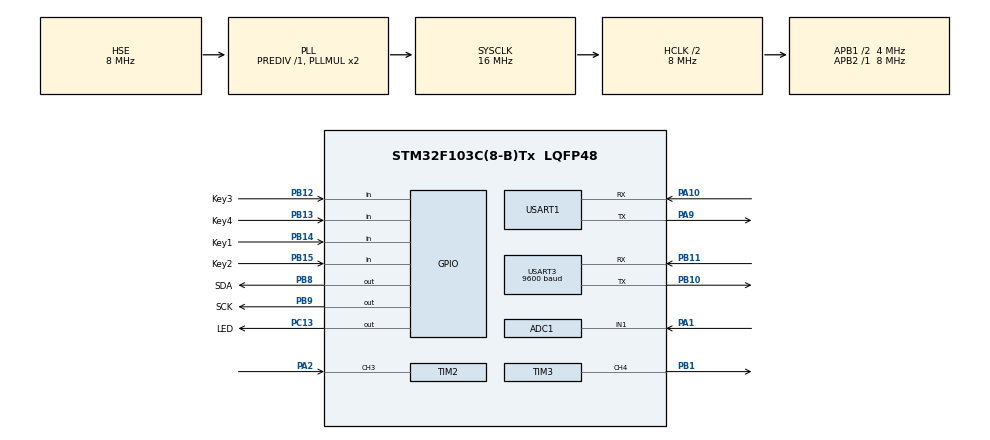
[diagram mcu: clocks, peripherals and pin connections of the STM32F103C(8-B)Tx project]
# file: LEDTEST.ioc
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ADC1.Channel-0\#ChannelRegularConversion=ADC_CHANNEL_1
ADC1.ExternalTrigConv=ADC_EXTERNALTRIGCONV_T3_TRGO
ADC1.NbrOfConversionFlag=1
ADC1.Rank-0\#ChannelRegularConversion=1
ADC1.SamplingTime-0\#ChannelRegularConversion=ADC_SAMPLETIME_1CYCLE_5
ADC1.master=1
Dma.ADC1.0.Direction=DMA_PERIPH_TO_MEMORY
Dma.ADC1.0.Instance=DMA1_Channel1
Dma.ADC1.0.MemDataAlignment=DMA_MDATAALIGN_HALFWORD
Dma.ADC1.0.MemInc=DMA_MINC_ENABLE
Dma.ADC1.0.Mode=DMA_CIRCULAR
Dma.ADC1.0.PeriphDataAlignment=DMA_PDATAALIGN_HALFWORD
Dma.ADC1.0.PeriphInc=DMA_PINC_DISABLE
Dma.ADC1.0.Priority=DMA_PRIORITY_LOW
Dma.Request0=ADC1
Mcu.Family=STM32F1
Mcu.Name=STM32F103C(8-B)Tx
Mcu.Package=LQFP48
NVIC.DMA1_Channel1_IRQn=true\:0\:0\:false\:false\:true\:false\:true
NVIC.PriorityGroup=NVIC_PRIORITYGROUP_4
NVIC.TIM2_IRQn=true\:0\:0\:true\:false\:true\:true\:true
NVIC.TIM3_IRQn=true\:0\:0\:false\:false\:true\:true\:true
PA1.Signal=ADCx_IN1
PA10.Mode=Asynchronous
PA10.Signal=USART1_RX
PA13.Mode=Serial_Wire
PA13.Signal=SYS_JTMS-SWDIO
PA14.Mode=Serial_Wire
PA14.Signal=SYS_JTCK-SWCLK
PA2.GPIO_PuPd=GPIO_PULLDOWN
PA2.Signal=S_TIM2_CH3
PA9.Mode=Asynchronous
PA9.Signal=USART1_TX
PB1.Signal=S_TIM3_CH4
PB10.Mode=Asynchronous
PB10.Signal=USART3_TX
PB11.Mode=Asynchronous
PB11.Signal=USART3_RX
PB12.GPIO_Label=Key3
PB12.Signal=GPIO_Input
PB13.GPIO_Label=Key4
PB13.Signal=GPIO_Input
PB14.GPIO_Label=Key1
PB14.Signal=GPIO_Input
PB15.GPIO_Label=Key2
PB15.Signal=GPIO_Input
PB8.GPIO_Label=SDA
PB8.GPIO_Speed=GPIO_SPEED_FREQ_HIGH
PB8.PinState=GPIO_PIN_RESET
PB8.Signal=GPIO_Output
PB9.GPIO_Label=SCK
PB9.GPIO_Speed=GPIO_SPEED_FREQ_HIGH
PB9.PinState=GPIO_PIN_RESET
PB9.Signal=GPIO_Output
PC13-TAMPER-RTC.GPIO_Label=LED
PC13-TAMPER-RTC.PinState=GPIO_PIN_SET
PC13-TAMPER-RTC.Signal=GPIO_Output
PC14-OSC32_IN.Mode=LSE-External-Oscillator
PC14-OSC32_IN.Signal=RCC_OSC32_IN
PC15-OSC32_OUT.Mode=LSE-External-Oscillator
PC15-OSC32_OUT.Signal=RCC_OSC32_OUT
PD0-OSC_IN.Mode=HSE-External-Oscillator
PD0-OSC_IN.Signal=RCC_OSC_IN
PD1-OSC_OUT.Mode=HSE-External-Oscillator
PD1-OSC_OUT.Signal=RCC_OSC_OUT
ProjectManager.HeapSize=0x200
ProjectManager.StackSize=0x400
ProjectManager.TargetToolchain=MDK-ARM V5.32
RCC.ADCPresc=RCC_ADCPCLK2_DIV6
RCC.AHBCLKDivider=RCC_SYSCLK_DIV2
RCC.AHBFreq_Value=8000000
RCC.APB1CLKDivider=RCC_HCLK_DIV2
RCC.APB1Freq_Value=4000000
RCC.APB1TimFreq_Value=8000000
RCC.APB2Freq_Value=8000000
RCC.APB2TimFreq_Value=8000000
RCC.HCLKFreq_Value=8000000
RCC.PLLSourceVirtual=RCC_PLLSOURCE_HSE
RCC.SYSCLKFreq_VALUE=16000000
RCC.SYSCLKSource=RCC_SYSCLKSOURCE_PLLCLK
RCC.USBFreq_Value=16000000
SH.ADCx_IN1.0=ADC1_IN1,IN1
SH.S_TIM2_CH3.0=TIM2_CH3,Input_Capture3_from_TI3
SH.S_TIM3_CH4.0=TIM3_CH4,PWM Generation4 CH4
TIM2.AutoReloadPreload=TIM_AUTORELOAD_PRELOAD_ENABLE
TIM2.Channel-Input_Capture3_from_TI3=TIM_CHANNEL_3
TIM2.ICFilter_CH3=8
TIM2.Prescaler=7
TIM3.AutoReloadPreload=TIM_AUTORELOAD_PRELOAD_ENABLE
TIM3.Channel-PWM\ Generation4\ CH4=TIM_CHANNEL_4
TIM3.Period=499
TIM3.Prescaler=0
TIM3.TIM_MasterOutputTrigger=TIM_TRGO_UPDATE
USART1.VirtualMode=VM_ASYNC
USART3.BaudRate=9600
USART3.VirtualMode=VM_ASYNC
VP_TIM2_VS_ClockSourceINT.Mode=Internal
board=custom

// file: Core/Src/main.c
/* USER CODE BEGIN Header */
/**
  ******************************************************************************
  * @file           : main.c
  * @brief          : Main program body
  ******************************************************************************
  * @attention
  *
  * Copyright (c) 2022 STMicroelectronics.
  * All rights reserved.
  *
  * This software is licensed under terms that can be found in the LICENSE file
  * in the root directory of this software component.
  * If no LICENSE file comes with this software, it is provided AS-IS.
  *
  ******************************************************************************
  */
/* USER CODE END Header */
#include "main.h"
#include "adc.h"
#include "dma.h"
#include "tim.h"
#include "usart.h"
#include "gpio.h"

/* USER CODE BEGIN Includes */
//#include "bspOled.h"
#include "draw_api.h"
#include "user_interface.h"
#include "user_calculate.h"
#include "valuepack.h"
#include "key.h"

/* USER CODE END Includes */

/* USER CODE BEGIN PV */

uint16_t ADC_ConvertedValue[NPT];
uint8_t adc_dma_ok=0;

extern float frq;
extern __IO uint8_t TIM2_CAPTURE_STA;
float ADC_Value[NPT];
float ADC_Value_Buffer[NPT];
unsigned char Send_Buffer[50];

float ECGData1[NPT]={2.77, 2.76, 2.91, 2.82, 2.87, 2.94, 2.83, 2.92, 2.82, 2.77, 2.81, 2.63, 2.7, 2.61, 2.46, 2.46, 2.3, 2.42, 2.38, 2.2, 2.3, 2.21, 2.32, 2.34, 2.17, 2.3, 2.23, 2.25, 2.34, 2.17, 2.28, 2.24, 2.17, 2.32, 2.14, 2.23, 2.19, 2.08, 2.21, 2.07, 2.1, 2.1, 1.97, 2.08, 2.01, 2.02, 2.08, 1.95, 2.12, 2.07, 2.04, 2.15, 2.04, 2.26, 2.19, 2.04, 2.08, 1.93, 2.04, 2.03, 1.93, 2.01, 1.9, 2.2, 2.76, 3.05, 3.25, 2.51, 1.9, 1.8, 1.75, 1.92, 1.92, 1.88, 2.02, 1.88, 2.01, 2.03, 2.01, 2.16, 2.08, 2.17, 2.19, 2.1, 2.25, 2.16, 2.21, 2.29, 2.17, 2.34, 2.32, 2.36, 2.47, 2.37, 2.51, 2.54, 2.46, 2.56, 2.41, 2.5, 2.47, 2.28, 2.32, 2.14, 2.2, 2.26, 2.11, 2.17, 2.08, 2.1, 2.16, 2.07, 2.19, 2.14, 2.11, 2.15, 2.07, 2.16, 2.12, 2.08, 2.14, 2.21, 2.14, 2.26, 2.26, 2.14, 2.25, 2.17, 2.21, 2.26, 2.14, 2.28, 2.21, 2.21, 2.26, 2.14, 2.25, 2.25, 2.19, 2.26, 2.14, 2.25, 2.24, 2.2, 2.32, 2.24, 2.36, 2.5, 2.43, 2.5, 2.34, 2.39, 2.46, 2.34, 2.38, 2.36, 2.7, 3.53, 3.58, 3.68, 2.81, 2.33, 2.38, 2.37, 2.51, 2.55, 2.46, 2.58, 2.47, 2.59, 2.63, 2.51, 2.61, 2.54, 2.6, 2.68, 2.55, 2.69, 2.68, 2.7, 2.85, 2.73, 2.89, 2.89, 2.9, 3.05, 2.92, 3.07, 3.08, 3.05, 3.22, 3.02, 2.98, 2.91, 2.7, 2.82, 2.68, 2.63, 2.69, 2.55, 2.69, 2.65, 2.6, 2.7, 2.59, 2.73, 2.74, 2.67, 2.76, 2.63, 2.65, 2.69, 2.56, 2.65, 2.54, 2.6, 2.68, 2.55, 2.65, 2.58, 2.55, 2.68, 2.52, 2.63, 2.58, 2.52, 2.65, 2.51, 2.6, 2.56, 2.47, 2.7, 2.7, 2.74, 2.83, 2.65, 2.73, 2.68, 2.65, 2.7, 2.51, 2.61, 2.81, 3.31, 3.88, 3.86, 3.31, 2.8, 2.63, 2.8, 2.7, 2.82, 2.86, 2.74, 2.87, 2.78};
float ECGData2[NPT]={2.85, 1.66, 1.81, 1.68, 1.73, 1.8, 1.68, 1.84, 1.72, 1.73, 1.8, 1.72, 1.88, 1.86, 1.85, 1.97, 1.86, 2.01, 2.01, 1.94, 2.14, 2.01, 2.21, 1.94, 1.75, 1.81, 1.62, 1.63, 1.63, 1.46, 1.59, 1.54, 1.55, 1.62, 1.49, 1.62, 1.58, 1.59, 1.68, 1.55, 1.63, 1.66, 1.59, 1.72, 1.59, 1.67, 1.63, 1.53, 1.67, 1.55, 1.59, 1.64, 1.54, 1.72, 1.68, 1.67, 1.77, 1.64, 1.79, 1.75, 1.71, 1.84, 1.76, 1.94, 1.92, 1.75, 1.82, 1.66, 1.8, 1.81, 1.68, 1.75, 1.75, 2.21, 2.87, 3.07, 2.95, 2.1, 1.82, 1.94, 1.89, 2.02, 2.03, 1.97, 2.15, 2.02, 2.12, 2.19, 2.11, 2.32, 2.21, 2.32, 2.39, 2.3, 2.48, 2.47, 2.55, 2.64, 2.52, 2.7, 2.96, 2.77, 2.94, 2.82, 2.94, 2.99, 2.9, 2.98, 2.81, 2.81, 2.8, 2.59, 2.65, 2.51, 2.5, 2.59, 2.46, 2.55, 2.47, 2.5, 2.55, 2.68, 2.54, 2.67, 2.63, 2.59, 2.68, 2.6, 2.67, 2.69, 2.61, 2.73, 2.64, 2.69, 2.72, 2.63, 2.74, 2.68, 2.73, 2.82, 2.65, 2.77, 2.77, 2.78, 2.86, 2.74, 2.87, 2.91, 2.86, 3.03, 2.92, 2.94, 2.91, 2.86, 2.96, 2.85, 2.92, 2.91, 2.82, 3.13, 3.64, 4.13, 4.27, 3.55, 3.11, 2.91, 2.99, 3.13, 3.02, 3.2, 3.2, 3.14, 3.3, 3.17, 3.34, 3.36, 3.27, 3.4, 3.6, 3.48, 3.55, 3.4, 3.53, 3.47, 3.53, 3.61, 3.51, 3.66, 3.66, 3.65, 3.74, 3.64, 3.74, 3.66, 3.58, 3.68, 3.44, 3.42, 3.36, 3.18, 3.3, 3.17, 3.18, 3.2, 3.12, 3.29, 3.18, 3.16, 3.22, 3.07, 3.21, 3.18, 3.09, 3.18, 3.07, 3.17, 3.13, 3.04, 3.12, 2.99, 3.07, 3.16, 3.0, 3.13, 3.04, 3.04, 3.2, 3.04, 3.13, 3.08, 3.11, 3.2, 2.99, 3.07, 3.0, 2.9, 3.04, 2.9, 2.94, 3.03, 3.33, 4.05, 4.17, 3.93, 3.2, 2.8, 3.02, 3.09, 3.05, 3.09, 2.95, 3.04, 2.94, 2.89, 2.95};

	//struct ECGdata_InitTypeDef ECGdata[5] = {
////    {.second = 3.141590,
////    .third = "method three",
////    .first = -10,
////    .four = 0.25},
////
//
//};

struct ECGdata_InitTypeDef ECGdata_realtime[5];
struct ECGdata_InitTypeDef ECGdata_saved[5];
struct ECGdata_InitTypeDef ECGdata_exhibit[1];

/****************标志位**************/

//按键标志位
uint8_t key1_state = 0;	//按键1的状态
uint8_t key2_state = 0;	//按键2的状态
uint8_t key3_state = 0;	//按键3的状态
uint8_t key4_state = 0;	//按键4的状态

//按下Key1发送保存的数据
//按下Key2更新保存到结构体的数据

//数据标志位
uint8_t ecgdataflag_realtime = 0;
uint8_t ecgdataflag_saved = 0;

/* USER CODE END PV */

void SystemClock_Config(void);
/* USER CODE BEGIN PFP */
void main_task(void);
void ADC_Start(void);
void ADC_Stop(void);
/* USER CODE END PFP */

int main(void)
{

  /* MCU Configuration--------------------------------------------------------*/

  /* Reset of all peripherals, Initializes the Flash interface and the Systick. */
  HAL_Init();

  /* Configure the system clock */
  SystemClock_Config();

  /* Initialize all configured peripherals */
  MX_GPIO_Init();
  MX_DMA_Init();
  MX_ADC1_Init();
  MX_USART1_UART_Init();
  MX_TIM3_Init();
  MX_USART3_UART_Init();
  MX_TIM2_Init();
  /* USER CODE BEGIN 2 */
	OLED_Init();
  Wave_Background();
  Sampling_time(Fs);//单位（HZ）	初始化ADC采样率
	ADC_Start();//初始化ADC开始采样

extern float fre;

  /* USER CODE END 2 */

  /* Infinite loop */
  /* USER CODE BEGIN WHILE */
  while (1)
  {
		//查询按键状态
		 GetKeyFlag();

		 main_task();

    /* USER CODE END WHILE */

  }
}

void SystemClock_Config(void)
{
  RCC_OscInitTypeDef RCC_OscInitStruct = {0};
  RCC_ClkInitTypeDef RCC_ClkInitStruct = {0};
  RCC_PeriphCLKInitTypeDef PeriphClkInit = {0};

  /** Initializes the RCC Oscillators according to the specified parameters
  * in the RCC_OscInitTypeDef structure.
  */
  RCC_OscInitStruct.OscillatorType = RCC_OSCILLATORTYPE_HSE;
  RCC_OscInitStruct.HSEState = RCC_HSE_ON;
  RCC_OscInitStruct.HSEPredivValue = RCC_HSE_PREDIV_DIV1;
  RCC_OscInitStruct.HSIState = RCC_HSI_ON;
  RCC_OscInitStruct.PLL.PLLState = RCC_PLL_ON;
  RCC_OscInitStruct.PLL.PLLSource = RCC_PLLSOURCE_HSE;
  RCC_OscInitStruct.PLL.PLLMUL = RCC_PLL_MUL2;
  if (HAL_RCC_OscConfig(&RCC_OscInitStruct) != HAL_OK)
  {
    Error_Handler();
  }
  /** Initializes the CPU, AHB and APB buses clocks
  */
  RCC_ClkInitStruct.ClockType = RCC_CLOCKTYPE_HCLK|RCC_CLOCKTYPE_SYSCLK
                              |RCC_CLOCKTYPE_PCLK1|RCC_CLOCKTYPE_PCLK2;
  RCC_ClkInitStruct.SYSCLKSource = RCC_SYSCLKSOURCE_PLLCLK;
  RCC_ClkInitStruct.AHBCLKDivider = RCC_SYSCLK_DIV2;
  RCC_ClkInitStruct.APB1CLKDivider = RCC_HCLK_DIV2;
  RCC_ClkInitStruct.APB2CLKDivider = RCC_HCLK_DIV1;

  if (HAL_RCC_ClockConfig(&RCC_ClkInitStruct, FLASH_LATENCY_0) != HAL_OK)
  {
    Error_Handler();
  }
  PeriphClkInit.PeriphClockSelection = RCC_PERIPHCLK_ADC;
  PeriphClkInit.AdcClockSelection = RCC_ADCPCLK2_DIV6;
  if (HAL_RCCEx_PeriphCLKConfig(&PeriphClkInit) != HAL_OK)
  {
    Error_Handler();
  }
}

/* USER CODE BEGIN 4 */

void main_task(void)
{

	static int i;

	/**********FFT处理以及显示方式等处理************************************/
   if(adc_dma_ok==1)
	 {

		//ADC开始采样
  	ADC_Start();

		//开始计算踩到的电压值，并将波形显示到OLED上
		AD_calcuate(ADC_Value,ADC_ConvertedValue,NPT);//计算采集到的电压值给OLED显示
	  for(i=0;i<NPT;i++)
	   {
		     ECGdata_realtime[ecgdataflag_realtime].EGC_ADCVaule[i]=ADC_Value[i];

	   }

		for(i=0;i<NPT;i++)
	  {
			 if(ecgdataflag_saved>=5)
			 {
				 printf("ecgdataflag_saved:%d\n",ecgdataflag_saved);
				 printf("数据更新结束\n");
				 break;
			 }else {

			 ECGdata_saved[ecgdataflag_saved].EGC_ADCVaule[i]=ADC_Value[i];
			 }

	  }

		ecgdataflag_realtime++;
		ecgdataflag_saved++;
		if(ecgdataflag_realtime>=5)
		{

			ecgdataflag_realtime=0;

		}

		HeartWave_display(ECGdata_realtime[0].EGC_ADCVaule);//显示心电的波形

	   //保存计算到的频率
		 float frq = TIM2_Poll();
	 /********判断心率是否计算完成**********************/
     if(TIM2_CAPTURE_STA==0)
		 {
			int bmp = frq *60;
//		  HeartRate_Display(bmp);//刷新心电的频率
//		  HeartState_Display(frq*60);//刷新心电的状态
		 }

	//printf("******************开始**************************\n\n\n");
		/*将数据打包并发送*/
//		for(i=0;i<NPT;i++)
//		{
//
//		   // 开始发送
//			startValuePack(Send_Buffer);
//
//		  // 将要回传的值放入，注意顺序为 Bool->Byte->Short->Int->Float
//		  //putInt(bmp)
//			putFloat(ADC_Value[i]*100);

//		  // 通过串口发送，endValuePack返回了数据包的总长度
//			sendBuffer(Send_Buffer,endValuePack());
//			HAL_Delay(500);
//			int data = ADC_Value[i]/3.3*255;
//			printf("w%d",data);
//
//		}
   //printf("--------------------结束----------------------------\n\n\n");

		ADC_Start();
		adc_dma_ok=0;//清除标志位，为下一次转换做准备

	 }

/***********************按键行为处理*************************************************/
	 if(key1_state==1)
	 {
		 //按键松开
		 if(KEY1==1)
		 {
			 //清除标志位
			 key1_state = 0;

			 HeartWave_display(ECGData1);//显示心电的波形
			 HeartRate_Display(60);//刷新心电的频率
		   HeartState_Display(60);//刷新心电的状态
			 HeartWave_display(ECGData2);//显示心电的波形
			 HeartRate_Display(60);//刷新心电的频率
		   HeartState_Display(60);//刷新心电的状态
			 printf("Key1SetupOK!\n\n");
		 }

	 }
	  if(key2_state==1)
	 {
		 //按键松开
		 if(KEY2==1)
		 {
			 //清除标志位
			 key2_state = 0;
			 if(ecgdataflag_saved>=5)
				{
					printf("ecgdataflag_saved:%d\n",ecgdataflag_saved);
					printf("重新更新数据\n");
					ecgdataflag_saved=0;
					printf("ecgdataflag_saved:%d\n",ecgdataflag_saved);

				}

			 printf("Key2SetupOK!\n\n");
		 }

	 }
	  if(key3_state==1)
	 {
		 //按键松开
		 if(KEY3==1)
		 {
			 //消抖
			 if(KEY3==1)
			 {
			 //清除标志位
			 key3_state = 0;

			 printf("Key3SetupOK!\n\n");
			 }
		 }

	 }
	  if(key4_state==1)
	 {
		 //按键松开
		 if(KEY4==1)
		 {
			 //清除标志位
			 key4_state = 0;

			 printf("Key4SetupOK!\n\n");
		 }

	 }

}

/* 函数名称：void ADC_Start(void)
 * 功能描述：FFT数据采集的启动
 * 参数：无
 * 返回值：无
 */
void ADC_Start(void)
{
	/*启动ADC的DMA传输，配合定时器触发ADC转换*/
	HAL_ADC_Start_DMA(&hadc1,(uint32_t *)&ADC_ConvertedValue, NPT);
	/*开启定时器，用溢出时间来触发ADC*/
	HAL_TIM_Base_Start(&htim3);
}

/* 函数名称：void FFT_Stop(void)
 * 功能描述：FFT数据采集的停止
 * 参数：无
 * 返回值：无
 */
void ADC_Stop(void)
{
	/*停止ADC的DMA传输*/
	HAL_ADC_Stop_DMA(&hadc1);
	/*停止定时器*/
	HAL_TIM_Base_Stop(&htim3);
}

/* 函数名称：void HAL_ADC_ConvCpltCallback(ADC_HandleTypeDef* hadc)
 * 功能描述：ADC的DMA回调函数
 * 参数：hadc --- adc结构体指针
 * 返回值：无
 */
void HAL_ADC_ConvCpltCallback(ADC_HandleTypeDef* hadc)
{
//	HAL_ADC_Stop_DMA(&hadc1);	//停止ADC的DMA传输
	ADC_Stop();
	adc_dma_ok = 1;						//标记ADC_DMA传输完成
}

/* USER CODE END 4 */

void Error_Handler(void)
{
  __disable_irq();
  while (1)
  {
  }
}
